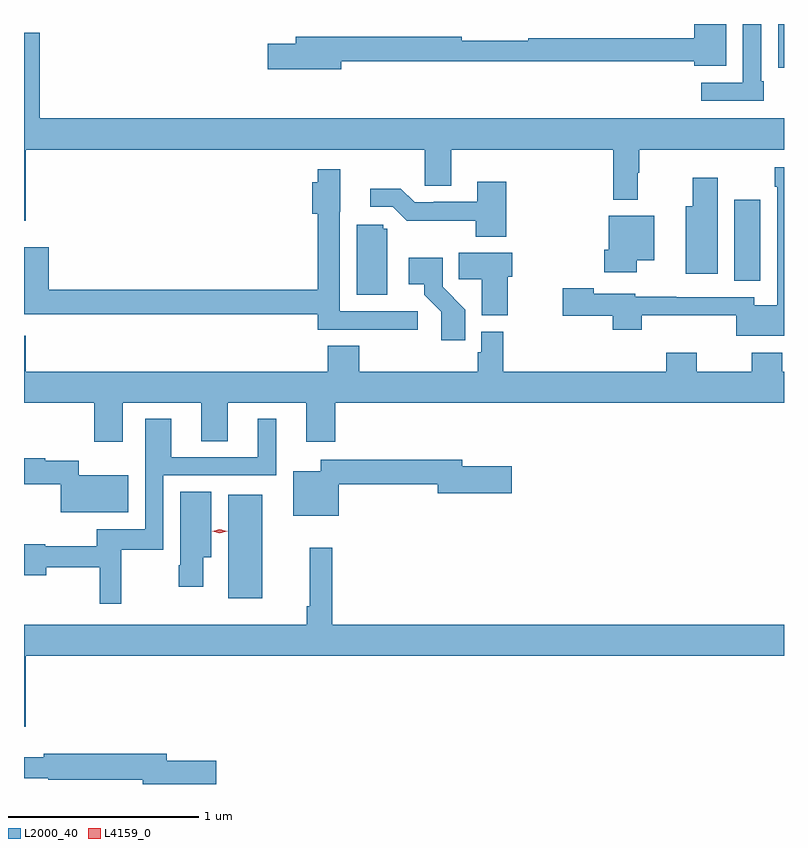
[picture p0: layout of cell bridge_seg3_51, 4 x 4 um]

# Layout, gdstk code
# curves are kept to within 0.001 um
import gdstk
lib = gdstk.Library(unit=1e-6, precision=1e-09)
def R(c, l, rs):  # rectangles x0, y0, x1, y1
    for r in rs: c.add(gdstk.rectangle(r[:2], r[2:], *l))
def P(c, l, *ps):  # polygons
    for p in ps: c.add(gdstk.Polygon(p, *l))
L2000_40 = (2000, 40)
L4159_0 = (4159, 0)

bridge_seg3_51 = lib.new_cell('bridge_seg3_51')
R(bridge_seg3_51, L2000_40, [(1065.338,703.883,1065.517,704.428), (1068.002,705.553,1068.139,705.979), (1068.233,706.674,1068.264,706.905)])
P(bridge_seg3_51, L2000_40, [(1065.934,706.71),(1067.792,706.71),(1067.792,706.685),(1067.959,706.685),(1067.959,706.905),(1067.792,706.905),(1067.792,706.831),(1066.918,706.831),(1066.918,706.818),(1066.568,706.818),(1066.568,706.838),(1065.695,706.838),(1065.695,706.802),(1065.546,706.802),(1065.546,706.667),(1065.934,706.667)],
  [(1068.157,706.603),(1068.144,706.603),(1068.144,706.905),(1068.048,706.905),(1068.048,706.596),(1067.829,706.596),(1067.829,706.5),(1068.157,706.5)],
  [(1064.272,706.244),(1066.374,706.244),(1066.374,706.054),(1066.513,706.054),(1066.513,706.244),(1067.365,706.244),(1067.365,705.981),(1067.494,705.981),(1067.494,706.121),(1067.501,706.121),(1067.501,706.244),(1068.264,706.244),(1068.264,706.408),(1064.347,706.408),(1064.347,706.858),(1064.264,706.858),(1064.264,705.87),(1064.272,705.87)],
  [(1068.264,706.152),(1068.216,706.152),(1068.216,706.049),(1068.228,706.049),(1068.228,705.424),(1068.108,705.424),(1068.108,705.468),(1067.696,705.468),(1067.696,705.47),(1067.481,705.47),(1067.481,705.486),(1067.262,705.486),(1067.262,705.514),(1067.1,705.514),(1067.1,705.37),(1067.363,705.37),(1067.363,705.296),(1067.516,705.296),(1067.516,705.371),(1068.012,705.371),(1068.012,705.263),(1068.264,705.263)],
  [(1066.336,705.393),(1065.927,705.393),(1065.927,705.918),(1065.928,705.918),(1065.928,706.141),(1065.811,706.141),(1065.811,706.072),(1065.782,706.072),(1065.782,705.907),(1065.811,705.907),(1065.811,705.506),(1064.393,705.506),(1064.393,705.73),(1064.264,705.73),(1064.264,705.378),(1065.811,705.378),(1065.811,705.297),(1066.111,705.297),(1066.111,705.295),(1066.336,705.295)],
  [(1067.914,706.096),(1067.785,706.096),(1067.785,705.946),(1067.747,705.946),(1067.747,705.59),(1067.914,705.59)],
  [(1066.802,706.075),(1066.649,706.075),(1066.649,705.969),(1066.42,705.969),(1066.42,705.966),(1066.32,705.966),(1066.247,706.039),(1066.086,706.039),(1066.086,705.942),(1066.206,705.942),(1066.279,705.869),(1066.642,705.87),(1066.642,705.785),(1066.802,705.785)],
  [(1067.488,705.662),(1067.581,705.662),(1067.581,705.895),(1067.342,705.895),(1067.342,705.717),(1067.318,705.717),(1067.318,705.599),(1067.488,705.599)],
  [(1066.177,705.828),(1066.155,705.828),(1066.155,705.849),(1066.016,705.849),(1066.016,705.48),(1066.177,705.48)],
  [(1066.81,705.576),(1066.835,705.576),(1066.835,705.7),(1066.552,705.7),(1066.552,705.562),(1066.673,705.562),(1066.673,705.371),(1066.81,705.371)],
  [(1066.586,705.402),(1066.467,705.521),(1066.467,705.676),(1066.29,705.676),(1066.29,705.536),(1066.37,705.536),(1066.37,705.481),(1066.461,705.391),(1066.461,705.24),(1066.586,705.24)],
  [(1064.785,704.912),(1065.197,704.912),(1065.197,704.71),(1065.337,704.71),(1065.337,704.912),(1065.749,704.912),(1065.749,704.706),(1065.902,704.706),(1065.902,704.912),(1068.264,704.912),(1068.264,705.076),(1068.254,705.076),(1068.254,705.175),(1068.094,705.175),(1068.094,705.076),(1067.805,705.076),(1067.805,705.175),(1067.645,705.175),(1067.645,705.076),(1066.787,705.076),(1066.787,705.286),(1066.671,705.286),(1066.671,705.177),(1066.651,705.177),(1066.651,705.076),(1066.028,705.076),(1066.028,705.212),(1065.863,705.212),(1065.863,705.076),(1064.272,705.076),(1064.272,705.265),(1064.264,705.265),(1064.264,704.912),(1064.633,704.912),(1064.633,704.706),(1064.785,704.706)],
  [(1064.776,704.139),(1064.997,704.139),(1064.997,704.529),(1065.592,704.529),(1065.592,704.827),(1065.494,704.827),(1065.494,704.625),(1065.04,704.625),(1065.04,704.827),(1064.901,704.827),(1064.901,704.247),(1064.647,704.247),(1064.647,704.156),(1064.376,704.156),(1064.376,704.167),(1064.264,704.167),(1064.264,704.003),(1064.38,704.003),(1064.38,704.046),(1064.662,704.046),(1064.662,703.854),(1064.776,703.854)],
  [(1064.812,704.53),(1064.553,704.53),(1064.553,704.607),(1064.376,704.607),(1064.376,704.619),(1064.264,704.619),(1064.264,704.482),(1064.457,704.482),(1064.457,704.336),(1064.812,704.336)],
  [(1065.921,704.482),(1066.442,704.482),(1066.442,704.435),(1066.831,704.435),(1066.831,704.577),(1066.57,704.577),(1066.57,704.611),(1065.825,704.611),(1065.825,704.551),(1065.68,704.551),(1065.68,704.318),(1065.921,704.318)],
  [(1065.208,704.099),(1065.25,704.099),(1065.25,704.444),(1065.086,704.444),(1065.086,704.056),(1065.079,704.056),(1065.079,703.944),(1065.208,703.944)],
  [(1064.272,703.58),(1068.264,703.58),(1068.264,703.744),(1065.887,703.744),(1065.887,704.149),(1065.769,704.149),(1065.769,703.84),(1065.751,703.84),(1065.751,703.744),(1064.264,703.744),(1064.264,703.206),(1064.272,703.206)],
  [(1065.277,703.028),(1065.016,703.028),(1065.016,703.064),(1064.368,703.064),(1064.368,703.045),(1064.264,703.045),(1064.264,702.936),(1064.392,702.936),(1064.392,702.928),(1064.888,702.928),(1064.888,702.905),(1065.277,702.905)])
P(bridge_seg3_51, L4159_0, [(1065.294,704.226),(1065.254,704.236),(1065.254,704.236),(1065.254,704.236),(1065.294,704.246),(1065.333,704.236),(1065.333,704.236),(1065.333,704.236)])

lib.write_gds('bridge_seg3_51.gds')
